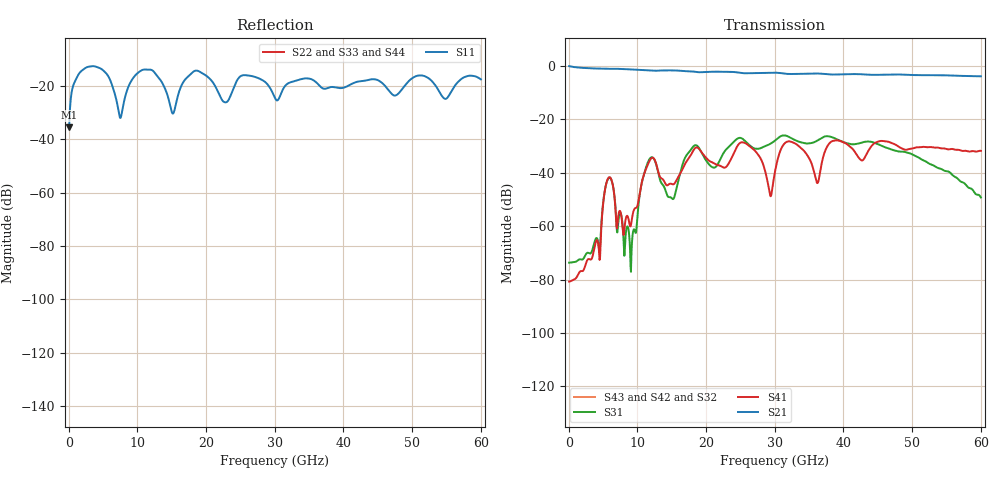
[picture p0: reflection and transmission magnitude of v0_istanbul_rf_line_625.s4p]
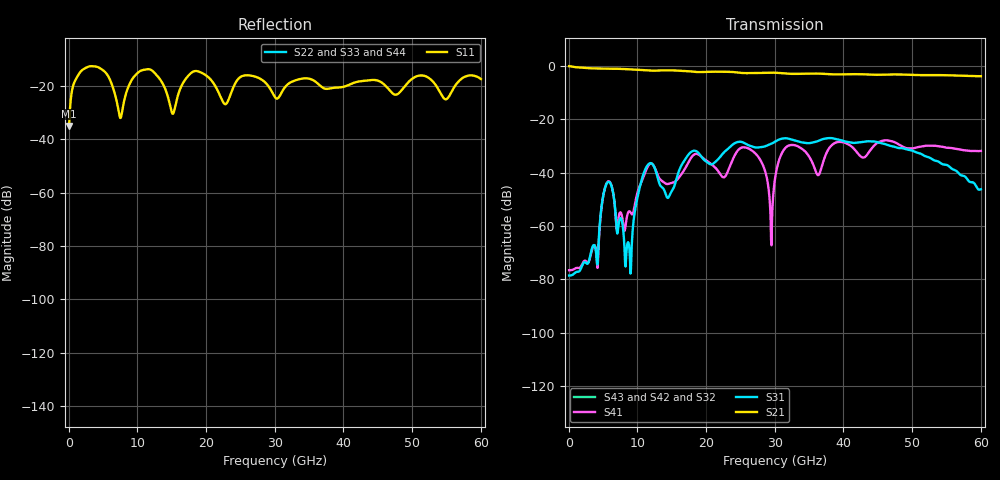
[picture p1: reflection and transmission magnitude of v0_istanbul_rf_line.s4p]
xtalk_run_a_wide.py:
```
"""Istanbul run (a, wide): run (a) bare line pair with the substrate widened to 625 um lateral padding on both sides
(was 391 / 474 um); open boundaries still on the substrate edges. Everything else as run (a): 50 ohm ports at both
ends, port 1 = A near (excited), 2 = A far, 3 = B near, 4 = B far. NEXT = |S31|, FEXT = |S41|.
EO crosstalk from the gap fields (A y +-0.005, B y -0.62/-0.63; z 0.3025..9.0525, last point dropped), 50 ohm
source, push-pull, n_g 2.27. The uploaded zips had swapped names (fixed on placement). Compared with run (a)."""
import os, sys
HERE = os.path.dirname(os.path.abspath(__file__)); RA = os.path.join(HERE, "../istanbul_run_a")
sys.path.insert(0, RA); sys.path.insert(0, os.path.abspath(os.path.join(HERE, "../../../..")))
import numpy as np, skrf as rf, matplotlib
matplotlib.use("Agg"); import matplotlib.pyplot as plt
from mzm_interconnect import parameters as P, xtalk_fields as XF
from load_fields import load
p = P.defaults(); p["Rt_R"] = 50.0; p["Zs_R"] = 50.0
dB = lambda s: 20 * np.log10(np.maximum(abs(s), 1e-12))
Xw = XF.eo_crosstalk_fields(p, load(base=HERE, a_zip="e-field (f=1) [1]_lineA.zip")); f = Xw["f_GHz"]
Xa = XF.eo_crosstalk_fields(p, load()); assert np.allclose(Xa["f_GHz"], f)
eow, eoa = dB(Xw["X"]), dB(Xa["X"])
nw = rf.Network(os.path.join(HERE, "v0_istanbul_rf_line_625.s4p")); na = rf.Network(os.path.join(RA, "v0_istanbul_rf_line.s4p"))
fw, fa = nw.f / 1e9, na.f / 1e9
S = {f"{q} {r}": (ff, dB(n.s[:, i, 0])) for r, n, ff in (("a", na, fa), ("w", nw, fw)) for q, i in (("S11", 0), ("S21", 1), ("NEXT", 2), ("FEXT", 3))}
I = {k: np.interp(f, *v) for k, v in S.items()}
np.savetxt(os.path.join(HERE, "xtalk_run_a_wide.csv"), np.c_[f, I["NEXT w"], I["FEXT w"], eow, eoa], delimiter=",", fmt="%.3f",
           header="f_GHz,NEXT_dB_wide,FEXT_dB_wide,EO_dB_wide,EO_dB_run_a", comments="")
k = f >= 5
print("f | NEXT a w | FEXT a w | EO a w | S11 a w (dB)")
for q in (5, 10, 20, 30, 40, 50, 60):
    i = np.argmin(abs(f - q))
    print(f"{q:2d} | {I['NEXT a'][i]:6.1f} {I['NEXT w'][i]:6.1f} | {I['FEXT a'][i]:6.1f} {I['FEXT w'][i]:6.1f} | {eoa[i]:6.1f} {eow[i]:6.1f} | {I['S11 a'][i]:6.1f} {I['S11 w'][i]:6.1f}")
for lab, y in (("NEXT a", I["NEXT a"]), ("NEXT w", I["NEXT w"]), ("FEXT a", I["FEXT a"]), ("FEXT w", I["FEXT w"]), ("EO a", eoa), ("EO w", eow)):
    j = np.argmax(np.where(k, y, -999)); print(f"max {lab} 5-60 GHz: {y[j]:.1f} dB at {f[j]:.0f} GHz; median {np.median(y[k]):.1f}")
for lab, y, r in (("EO w - a", eow, eoa), ("NEXT w - a", I["NEXT w"], I["NEXT a"]), ("FEXT w - a", I["FEXT w"], I["FEXT a"]),
                  ("S11 w - a", I["S11 w"], I["S11 a"]), ("S21 w - a", I["S21 w"], I["S21 a"])):
    d = y - r; print("%s, 5-60 GHz: median %+.2f dB, 5-95%% %+.1f .. %+.1f, max|d| %.1f; corr %.2f" % (lab, np.median(d[k]), *np.percentile(d[k], [5, 95]), abs(d[k]).max(), np.corrcoef(y[k], r[k])[0, 1]))
C = {"a": "#eb6834", "w": "#2a78d6"}
fig, ax = plt.subplots(1, 2, figsize=(13, 4.6))
ax[0].plot(f, eoa, "o-", color=C["a"], ms=3, lw=1.3, label="run (a): lateral padding 391 / 474 um")
ax[0].plot(f, eow, "o-", color=C["w"], ms=3, lw=1.3, label="run (a, wide): lateral padding 625 / 625 um")
ax[0].set_ylabel("EO crosstalk B/A (dB)"); ax[0].set_title("EO crosstalk (gap fields)", fontsize=10)
for r, ls in (("a", "-"), ("w", "-")):
    ax[1].plot(*S[f"NEXT {r}"], ls, color=C[r], lw=1.2, label=f"NEXT ({'a' if r == 'a' else 'a, wide'})")
    ax[1].plot(*S[f"FEXT {r}"], "--", color=C[r], lw=1.2, label=f"FEXT ({'a' if r == 'a' else 'a, wide'})")
ax[1].set_ylabel("dB"); ax[1].set_title("NEXT |S31| (solid), FEXT |S41| (dashed)", fontsize=10)
for a in ax:
    a.set_xlim(0, 60); a.set_ylim(-110, -15); a.set_xlabel("frequency (GHz)"); a.grid(alpha=0.3); a.legend(frameon=False, fontsize=8, loc="lower right")
fig.suptitle("Istanbul 8.75 mm bare line pair: effect of lateral padding (open boundary on the substrate edge)", fontsize=11)
fig.tight_layout(); fig.savefig(os.path.join(HERE, "padding_a_vs_wide.png"), dpi=150)
```
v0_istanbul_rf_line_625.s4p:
! TOUCHSTONE file generated by CST MICROWAVE STUDIO
! Date and time: Fri Nov  6 10:02:26 2026
! Project name: v0_istanbul_rf_line_625.cst
! Parameters = {LN_THICKNESS=0.000275; SILICON_THICKNESS=0.55}
! Header version: 2024
! Port assignment regex: !\s*Touchstone port\s*([0-9]+)\s*=\s*(CST MWS port|CST DES external port|CST DES block port)\s*(.+)\s* \(\"(.*)\"\)(\s*mode\s*([0-9]+))?.*
! Touchstone port assignment:
! Touchstone port 1 = CST MWS port 1 ("")
! Touchstone port 2 = CST MWS port 2 ("")
! Touchstone port 3 = CST MWS port 3 ("")
! Touchstone port 4 = CST MWS port 4 ("")
# GHz S MA R 50
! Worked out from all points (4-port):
!   1000 points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, 60 MHz to 60 GHz, reference 50 ohm
!   strongest paths, dB at 60 MHz, 15.06 GHz, 30.06 GHz, 45.06 GHz, 60 GHz:
!     S21: -0.1, -1.7, -2.5, -3.3, -3.9
!     S41: -80.8, -44.3, -39.2, -28.3, -31.8
!     S31: -73.7, -49.7, -27.9, -29.4, -49.3
!     S43: -, -, -, -, -
!     S42: -, -, -, -, -
!     S32: -, -, -, -, -
!   lowest |S11| = -35.5 dB at 60 MHz (marker M1), VSWR 1.03, Z = 51.3 + j1.13 ohm
!   |S11| at or under -10 dB: start of sweep to end of sweep
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0.06  0.01672 41.0  0 0.0  0 0.0  0 0.0
      0.9876 -1.8  0 0.0  0 0.0  0 0.0
      0.0002068 -21.9  0 0.0  0 0.0  0 0.0
      9.128e-05 159.1  0 0.0  0 0.0  0 0.0
24.84  0.1448 12.3  0 0.0  0 0.0  0 0.0
       0.7437 133.4  0 0.0  0 0.0  0 0.0
       0.04485 -160.2  0 0.0  0 0.0  0 0.0
       0.03518 -172.7  0 0.0  0 0.0  0 0.0
60  0.1321 -43.6  0 0.0  0 0.0  0 0.0
    0.6386 36.0  0 0.0  0 0.0  0 0.0
    0.003436 135.1  0 0.0  0 0.0  0 0.0
    0.02563 -40.1  0 0.0  0 0.0  0 0.0
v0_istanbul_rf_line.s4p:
! TOUCHSTONE file generated by CST MICROWAVE STUDIO
! Date and time: Thu Nov  5 15:45:10 2026
! Project name: v0_istanbul_rf_line.cst
! Parameters = {LN_THICKNESS=0.000275; SILICON_THICKNESS=0.55}
! Header version: 2024
! Port assignment regex: !\s*Touchstone port\s*([0-9]+)\s*=\s*(CST MWS port|CST DES external port|CST DES block port)\s*(.+)\s* \(\"(.*)\"\)(\s*mode\s*([0-9]+))?.*
! Touchstone port assignment:
! Touchstone port 1 = CST MWS port 1 ("")
! Touchstone port 2 = CST MWS port 2 ("")
! Touchstone port 3 = CST MWS port 3 ("")
! Touchstone port 4 = CST MWS port 4 ("")
# GHz S MA R 50
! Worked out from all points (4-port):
!   1000 points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, 60 MHz to 60 GHz, reference 50 ohm
!   strongest paths, dB at 60 MHz, 15.06 GHz, 30.06 GHz, 45.06 GHz, 60 GHz:
!     S21: -0.1, -1.7, -2.6, -3.4, -3.9
!     S31: -78.5, -46.7, -28.4, -28.7, -46.2
!     S41: -76.5, -43.8, -41.8, -28.6, -31.9
!     S43: -, -, -, -, -
!     S42: -, -, -, -, -
!     S32: -, -, -, -, -
!   lowest |S11| = -35.0 dB at 60 MHz (marker M1), VSWR 1.04, Z = 51.4 + j1.06 ohm
!   |S11| at or under -10 dB: start of sweep to end of sweep
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0.06  0.01769 35.6  0 0.0  0 0.0  0 0.0
      0.9858 -1.8  0 0.0  0 0.0  0 0.0
      0.0001184 158.7  0 0.0  0 0.0  0 0.0
      0.0001491 -20.8  0 0.0  0 0.0  0 0.0
18.18  0.1852 0.8  0 0.0  0 0.0  0 0.0
       0.7761 -71.4  0 0.0  0 0.0  0 0.0
       0.02569 -168.8  0 0.0  0 0.0  0 0.0
       0.02146 2.2  0 0.0  0 0.0  0 0.0
60  0.1334 -44.2  0 0.0  0 0.0  0 0.0
    0.6401 35.9  0 0.0  0 0.0  0 0.0
    0.004881 131.0  0 0.0  0 0.0  0 0.0
    0.02552 -43.7  0 0.0  0 0.0  0 0.0
